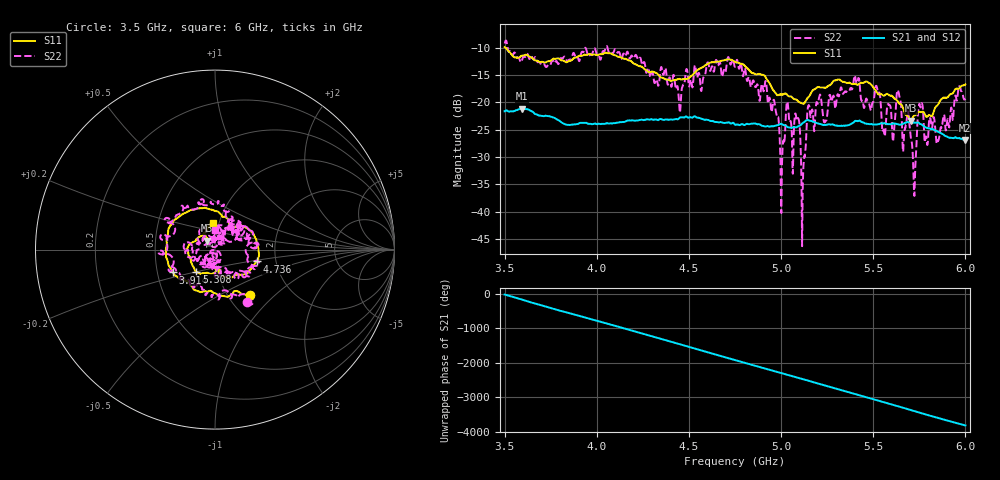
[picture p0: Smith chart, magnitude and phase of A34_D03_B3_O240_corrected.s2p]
! Created with skrf 1.9.0 (http://scikit-rf.org).
# Hz S RI R 50.0
!freq ReS11 ImS11 ReS21 ImS21 ReS12 ImS12 ReS22 ImS22
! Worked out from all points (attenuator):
!   1601 points, 3.5 GHz to 6 GHz, reference 50 ohm
!   highest |S21| = -21.18 dB at 3.592 GHz (marker M1); lowest = -26.9 dB at 5.997 GHz (marker M2)
!   lowest |S11| = -23.4 dB at 5.703 GHz (marker M3), VSWR 1.15, Z = 45.3 + j4.47 ohm
!   |S11| at or under -10 dB: 3.505 GHz to end of sweep
!   |S22| runs from -46.3 to -8.7 dB; largest |S21 - S12| = 0.00098
!   S11 on the Smith chart (normalised r, x): 3.5 GHz: 1.26, -0.71; 3.914 GHz: 0.60, -0.17; 4.736 GHz: 1.59, -0.22; 5.308 GHz: 0.79, -0.20; 6 GHz: 0.94, +0.28
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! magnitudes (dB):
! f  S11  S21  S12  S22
! 3.5 GHz  -9.9  -21.6  -21.6  -9.2
! 3.592 GHz  -11.5  -21.2  -21.2  -12.5
! 3.914 GHz  -11.5  -23.8  -23.7  -11.2
! 3.917 GHz  -11.5  -23.8  -23.8  -10.8
! 4.334 GHz  -15.0  -23.3  -23.2  -17.0
! 4.736 GHz  -12.3  -23.8  -23.8  -12.3
! 4.75 GHz  -12.6  -24.1  -24.0  -13.5
! 4.967 GHz  -18.2  -24.3  -24.3  -20.7
! 5.005 GHz  -18.5  -24.0  -24.0  -31.6
! 5.034 GHz  -18.7  -24.6  -24.5  -20.0
! 5.088 GHz  -19.6  -24.5  -24.5  -23.2
! 5.119 GHz  -20.3  -23.8  -23.7  -34.0
! 5.145 GHz  -19.2  -23.3  -23.2  -20.9
! 5.167 GHz  -18.0  -23.5  -23.4  -21.4
! 5.308 GHz  -15.8  -24.3  -24.2  -18.5
! 5.584 GHz  -18.7  -24.0  -24.0  -20.4
! 5.703 GHz  -23.4  -23.7  -23.7  -26.3
! 5.722 GHz  -22.4  -23.7  -23.7  -36.8
! 5.756 GHz  -21.8  -24.0  -23.9  -20.9
! 5.85 GHz  -20.5  -25.4  -25.3  -27.0
! 5.997 GHz  -16.8  -26.9  -26.8  -19.5
! 6 GHz  -16.7  -26.9  -26.8  -19.3
